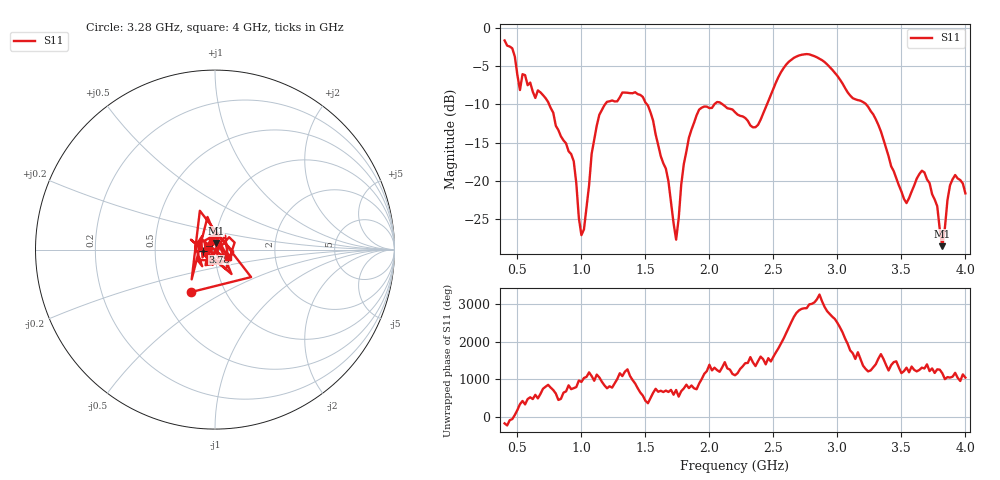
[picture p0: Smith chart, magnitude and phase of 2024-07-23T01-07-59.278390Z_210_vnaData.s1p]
!Created with skrf (http://scikit-rf.org).
# Hz S RI R 50.0
!freq ReS11 ImS11
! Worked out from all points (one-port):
!   181 points, 400 MHz to 4 GHz, reference 50 ohm
!   lowest |S11| = -28.5 dB at 3.82 GHz (marker M1), VSWR 1.08, Z = 50.4 + j3.76 ohm
!   |S11| at or under -10 dB: 748 MHz to 1.185 GHz (436.6 MHz wide, 45.2 % of centre); 1.512 GHz to 2.038 GHz (526.3 MHz wide, 29.6 % of centre); 3.225 GHz to end of sweep (the widest 3 of 4)
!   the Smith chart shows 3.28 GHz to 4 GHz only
!   S11 on the Smith chart (normalised r, x): 3.28 GHz: 0.69, -0.35; 3.78 GHz: 0.87, -0.02; 4 GHz: 1.15, -0.10
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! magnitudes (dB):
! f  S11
! 400 MHz  -1.7
! 460 MHz  -2.7
! 520 MHz  -8.1
! 540 MHz  -6.1
! 700 MHz  -8.8
! 860 MHz  -14.7
! 940 MHz  -17.4
! 1 GHz  -27.0
! 1.14 GHz  -11.4
! 1.3 GHz  -9.1
! 1.52 GHz  -10.2
! 1.66 GHz  -18.4
! 1.74 GHz  -27.6
! 1.76 GHz  -24.9
! 1.8 GHz  -17.8
! 1.92 GHz  -10.7
! 2.2 GHz  -11.0
! 2.38 GHz  -12.7
! 2.66 GHz  -3.9
! 2.88 GHz  -4.2
! 3.1 GHz  -8.8
! 3.28 GHz  -11.3
! 3.56 GHz  -22.2
! 3.66 GHz  -18.6
! 3.78 GHz  -23.3
! 3.82 GHz  -28.5
! 3.9 GHz  -19.8
! 4 GHz  -21.6
